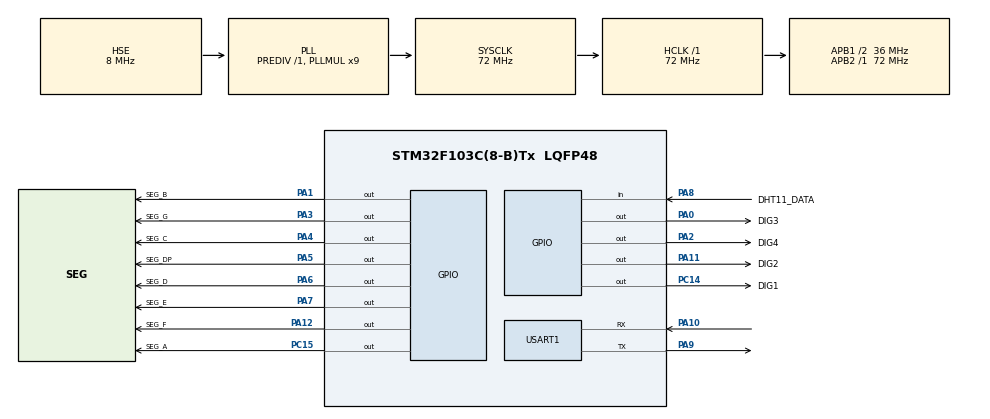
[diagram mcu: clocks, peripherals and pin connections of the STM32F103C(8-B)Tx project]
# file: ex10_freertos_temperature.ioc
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FREERTOS.Tasks01=defaultTask,0,128,StartDefaultTask,Default,NULL,Dynamic,NULL,NULL;DHT11Read,3,400,Task_DHT11Read,Default,NULL,Dynamic,NULL,NULL;LED_Display,0,400,Task_Display,Default,NULL,Dynamic,NULL,NULL;UART_Transmitio,-3,400,Task_Uart,Default,NULL,Dynamic,NULL,NULL
FREERTOS.configTOTAL_HEAP_SIZE=6000
Mcu.Family=STM32F1
Mcu.Name=STM32F103C(8-B)Tx
Mcu.Package=LQFP48
NVIC.PriorityGroup=NVIC_PRIORITYGROUP_4
NVIC.TIM4_IRQn=true\:0\:0\:false\:false\:true\:false\:false\:true
NVIC.TimeBase=TIM4_IRQn
NVIC.TimeBaseIP=TIM4
PA0-WKUP.GPIO_Label=DIG3
PA0-WKUP.GPIO_Speed=GPIO_SPEED_FREQ_HIGH
PA0-WKUP.PinState=GPIO_PIN_SET
PA0-WKUP.Signal=GPIO_Output
PA1.GPIO_Label=SEG_B
PA1.GPIO_Speed=GPIO_SPEED_FREQ_HIGH
PA1.PinState=GPIO_PIN_SET
PA1.Signal=GPIO_Output
PA10.Mode=Asynchronous
PA10.Signal=USART1_RX
PA11.GPIO_Label=DIG2
PA11.GPIO_Speed=GPIO_SPEED_FREQ_HIGH
PA11.PinState=GPIO_PIN_SET
PA11.Signal=GPIO_Output
PA12.GPIO_Label=SEG_F
PA12.GPIO_Speed=GPIO_SPEED_FREQ_HIGH
PA12.PinState=GPIO_PIN_SET
PA12.Signal=GPIO_Output
PA13.Mode=Serial_Wire
PA13.Signal=SYS_JTMS-SWDIO
PA14.Mode=Serial_Wire
PA14.Signal=SYS_JTCK-SWCLK
PA2.GPIO_Label=DIG4
PA2.GPIO_Speed=GPIO_SPEED_FREQ_HIGH
PA2.PinState=GPIO_PIN_SET
PA2.Signal=GPIO_Output
PA3.GPIO_Label=SEG_G
PA3.GPIO_Speed=GPIO_SPEED_FREQ_HIGH
PA3.PinState=GPIO_PIN_SET
PA3.Signal=GPIO_Output
PA4.GPIO_Label=SEG_C
PA4.GPIO_Speed=GPIO_SPEED_FREQ_HIGH
PA4.PinState=GPIO_PIN_SET
PA4.Signal=GPIO_Output
PA5.GPIO_Label=SEG_DP
PA5.GPIO_Speed=GPIO_SPEED_FREQ_HIGH
PA5.PinState=GPIO_PIN_SET
PA5.Signal=GPIO_Output
PA6.GPIO_Label=SEG_D
PA6.GPIO_Speed=GPIO_SPEED_FREQ_HIGH
PA6.PinState=GPIO_PIN_SET
PA6.Signal=GPIO_Output
PA7.GPIO_Label=SEG_E
PA7.GPIO_Speed=GPIO_SPEED_FREQ_HIGH
PA7.PinState=GPIO_PIN_SET
PA7.Signal=GPIO_Output
PA8.GPIO_Label=DHT11_DATA
PA8.Signal=GPIO_Input
PA9.Mode=Asynchronous
PA9.Signal=USART1_TX
PC14-OSC32_IN.GPIO_Label=DIG1
PC14-OSC32_IN.GPIO_Speed=GPIO_SPEED_FREQ_HIGH
PC14-OSC32_IN.PinState=GPIO_PIN_SET
PC14-OSC32_IN.Signal=GPIO_Output
PC15-OSC32_OUT.GPIO_Label=SEG_A
PC15-OSC32_OUT.GPIO_Speed=GPIO_SPEED_FREQ_HIGH
PC15-OSC32_OUT.PinState=GPIO_PIN_SET
PC15-OSC32_OUT.Signal=GPIO_Output
PD0-OSC_IN.Mode=HSE-External-Oscillator
PD0-OSC_IN.Signal=RCC_OSC_IN
PD1-OSC_OUT.Mode=HSE-External-Oscillator
PD1-OSC_OUT.Signal=RCC_OSC_OUT
ProjectManager.HeapSize=0x200
ProjectManager.StackSize=0x400
ProjectManager.TargetToolchain=STM32CubeIDE
RCC.AHBFreq_Value=72000000
RCC.APB1CLKDivider=RCC_HCLK_DIV2
RCC.APB1Freq_Value=36000000
RCC.APB1TimFreq_Value=72000000
RCC.APB2Freq_Value=72000000
RCC.APB2TimFreq_Value=72000000
RCC.HCLKFreq_Value=72000000
RCC.PLLMUL=RCC_PLL_MUL9
RCC.PLLSourceVirtual=RCC_PLLSOURCE_HSE
RCC.SYSCLKFreq_VALUE=72000000
RCC.SYSCLKSource=RCC_SYSCLKSOURCE_PLLCLK
RCC.USBFreq_Value=72000000
TIM3.Period=50000-1
TIM3.Prescaler=72-1
USART1.VirtualMode=VM_ASYNC
VP_FREERTOS_VS_CMSIS_V1.Mode=CMSIS_V1
VP_SYS_VS_tim4.Mode=TIM4
VP_TIM3_VS_ClockSourceINT.Mode=Internal
board=custom

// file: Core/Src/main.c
/* USER CODE BEGIN Header */
/**
  ******************************************************************************
  * @file           : main.c
  * @brief          : Main program body
  ******************************************************************************
  * @attention
  *
  * <h2><center>&copy; Copyright (c) 2020 STMicroelectronics.
  * All rights reserved.</center></h2>
  *
  * This software component is licensed by ST under BSD 3-Clause license,
  * the "License"; You may not use this file except in compliance with the
  * License. You may obtain a copy of the License at:
  *                        opensource.org/licenses/BSD-3-Clause
  *
  ******************************************************************************
  *
  * @attention
  *
  * 在ucos ii的基础上直接移植过来的,代码逻辑可参照ex9项目
  *
  */
/* USER CODE END Header */

#include "main.h"
#include "cmsis_os.h"

/* USER CODE BEGIN Includes */
#include "dht11.h"
#include "digit.h"
/* USER CODE END Includes */

TIM_HandleTypeDef htim3;

UART_HandleTypeDef huart1;

osThreadId defaultTaskHandle;
osThreadId DHT11ReadHandle;
osThreadId LED_DisplayHandle;
osThreadId UART_TransmitioHandle;
/* USER CODE BEGIN PV */
uint8_t UartSendBuf[] = "Temperature:   ; Humidity:   \n";
/* 任务间共享的全局变量 */
uint8_t humidity, temperature;      /* 温湿度整数部分 */
uint8_t frac_hum, frac_temp;        /* 温湿度小数部分 */
/* USER CODE END PV */

void SystemClock_Config(void);
static void MX_GPIO_Init(void);
static void MX_TIM3_Init(void);
static void MX_USART1_UART_Init(void);
void StartDefaultTask(void const * argument);
void Task_DHT11Read(void const * argument);
void Task_Display(void const * argument);
void Task_Uart(void const * argument);

int main(void)
{

  /* MCU Configuration--------------------------------------------------------*/

  /* Reset of all peripherals, Initializes the Flash interface and the Systick. */
  HAL_Init();

  /* Configure the system clock */
  SystemClock_Config();

  /* Initialize all configured peripherals */
  MX_GPIO_Init();
  MX_TIM3_Init();
  MX_USART1_UART_Init();
  /* USER CODE BEGIN 2 */
  HAL_TIM_Base_Start(&htim3);
  HAL_Delay(2000);
  /* USER CODE END 2 */

  /* Create the thread(s) */
  /* definition and creation of defaultTask */
  osThreadDef(defaultTask, StartDefaultTask, osPriorityNormal, 0, 128);
  defaultTaskHandle = osThreadCreate(osThread(defaultTask), NULL);

  /* definition and creation of DHT11Read */
  osThreadDef(DHT11Read, Task_DHT11Read, osPriorityRealtime, 0, 400);
  DHT11ReadHandle = osThreadCreate(osThread(DHT11Read), NULL);

  /* definition and creation of LED_Display */
  osThreadDef(LED_Display, Task_Display, osPriorityNormal, 0, 400);
  LED_DisplayHandle = osThreadCreate(osThread(LED_Display), NULL);

  /* definition and creation of UART_Transmitio */
  osThreadDef(UART_Transmitio, Task_Uart, osPriorityIdle, 0, 400);
  UART_TransmitioHandle = osThreadCreate(osThread(UART_Transmitio), NULL);

  /* Start scheduler */
  osKernelStart();

  /* We should never get here as control is now taken by the scheduler */
  /* Infinite loop */
  while (1)
  {

  }
}

void SystemClock_Config(void)
{
  RCC_OscInitTypeDef RCC_OscInitStruct = {0};
  RCC_ClkInitTypeDef RCC_ClkInitStruct = {0};

  /** Initializes the CPU, AHB and APB busses clocks
  */
  RCC_OscInitStruct.OscillatorType = RCC_OSCILLATORTYPE_HSE;
  RCC_OscInitStruct.HSEState = RCC_HSE_ON;
  RCC_OscInitStruct.HSEPredivValue = RCC_HSE_PREDIV_DIV1;
  RCC_OscInitStruct.HSIState = RCC_HSI_ON;
  RCC_OscInitStruct.PLL.PLLState = RCC_PLL_ON;
  RCC_OscInitStruct.PLL.PLLSource = RCC_PLLSOURCE_HSE;
  RCC_OscInitStruct.PLL.PLLMUL = RCC_PLL_MUL9;
  if (HAL_RCC_OscConfig(&RCC_OscInitStruct) != HAL_OK)
  {
    Error_Handler();
  }
  /** Initializes the CPU, AHB and APB busses clocks
  */
  RCC_ClkInitStruct.ClockType = RCC_CLOCKTYPE_HCLK|RCC_CLOCKTYPE_SYSCLK
                              |RCC_CLOCKTYPE_PCLK1|RCC_CLOCKTYPE_PCLK2;
  RCC_ClkInitStruct.SYSCLKSource = RCC_SYSCLKSOURCE_PLLCLK;
  RCC_ClkInitStruct.AHBCLKDivider = RCC_SYSCLK_DIV1;
  RCC_ClkInitStruct.APB1CLKDivider = RCC_HCLK_DIV2;
  RCC_ClkInitStruct.APB2CLKDivider = RCC_HCLK_DIV1;

  if (HAL_RCC_ClockConfig(&RCC_ClkInitStruct, FLASH_LATENCY_2) != HAL_OK)
  {
    Error_Handler();
  }
}

static void MX_TIM3_Init(void)
{

  TIM_ClockConfigTypeDef sClockSourceConfig = {0};
  TIM_MasterConfigTypeDef sMasterConfig = {0};

  htim3.Instance = TIM3;
  htim3.Init.Prescaler = 72-1;
  htim3.Init.CounterMode = TIM_COUNTERMODE_UP;
  htim3.Init.Period = 50000-1;
  htim3.Init.ClockDivision = TIM_CLOCKDIVISION_DIV1;
  htim3.Init.AutoReloadPreload = TIM_AUTORELOAD_PRELOAD_DISABLE;
  if (HAL_TIM_Base_Init(&htim3) != HAL_OK)
  {
    Error_Handler();
  }
  sClockSourceConfig.ClockSource = TIM_CLOCKSOURCE_INTERNAL;
  if (HAL_TIM_ConfigClockSource(&htim3, &sClockSourceConfig) != HAL_OK)
  {
    Error_Handler();
  }
  sMasterConfig.MasterOutputTrigger = TIM_TRGO_RESET;
  sMasterConfig.MasterSlaveMode = TIM_MASTERSLAVEMODE_DISABLE;
  if (HAL_TIMEx_MasterConfigSynchronization(&htim3, &sMasterConfig) != HAL_OK)
  {
    Error_Handler();
  }

}

static void MX_USART1_UART_Init(void)
{

  huart1.Instance = USART1;
  huart1.Init.BaudRate = 115200;
  huart1.Init.WordLength = UART_WORDLENGTH_8B;
  huart1.Init.StopBits = UART_STOPBITS_1;
  huart1.Init.Parity = UART_PARITY_NONE;
  huart1.Init.Mode = UART_MODE_TX_RX;
  huart1.Init.HwFlowCtl = UART_HWCONTROL_NONE;
  huart1.Init.OverSampling = UART_OVERSAMPLING_16;
  if (HAL_UART_Init(&huart1) != HAL_OK)
  {
    Error_Handler();
  }

}

static void MX_GPIO_Init(void)
{
  GPIO_InitTypeDef GPIO_InitStruct = {0};

  /* GPIO Ports Clock Enable */
  __HAL_RCC_GPIOC_CLK_ENABLE();
  __HAL_RCC_GPIOD_CLK_ENABLE();
  __HAL_RCC_GPIOA_CLK_ENABLE();

  /*Configure GPIO pin Output Level */
  HAL_GPIO_WritePin(GPIOC, DIG1_Pin|SEG_A_Pin, GPIO_PIN_SET);

  /*Configure GPIO pin Output Level */
  HAL_GPIO_WritePin(GPIOA, DIG3_Pin|SEG_B_Pin|DIG4_Pin|SEG_G_Pin
                          |SEG_C_Pin|SEG_DP_Pin|SEG_D_Pin|SEG_E_Pin
                          |DIG2_Pin|SEG_F_Pin, GPIO_PIN_SET);

  /*Configure GPIO pins : DIG1_Pin SEG_A_Pin */
  GPIO_InitStruct.Pin = DIG1_Pin|SEG_A_Pin;
  GPIO_InitStruct.Mode = GPIO_MODE_OUTPUT_PP;
  GPIO_InitStruct.Pull = GPIO_NOPULL;
  GPIO_InitStruct.Speed = GPIO_SPEED_FREQ_HIGH;
  HAL_GPIO_Init(GPIOC, &GPIO_InitStruct);

  /*Configure GPIO pins : DIG3_Pin SEG_B_Pin DIG4_Pin SEG_G_Pin
                           SEG_C_Pin SEG_DP_Pin SEG_D_Pin SEG_E_Pin
                           DIG2_Pin SEG_F_Pin */
  GPIO_InitStruct.Pin = DIG3_Pin|SEG_B_Pin|DIG4_Pin|SEG_G_Pin
                          |SEG_C_Pin|SEG_DP_Pin|SEG_D_Pin|SEG_E_Pin
                          |DIG2_Pin|SEG_F_Pin;
  GPIO_InitStruct.Mode = GPIO_MODE_OUTPUT_PP;
  GPIO_InitStruct.Pull = GPIO_NOPULL;
  GPIO_InitStruct.Speed = GPIO_SPEED_FREQ_HIGH;
  HAL_GPIO_Init(GPIOA, &GPIO_InitStruct);

  /*Configure GPIO pin : DHT11_DATA_Pin */
  GPIO_InitStruct.Pin = DHT11_DATA_Pin;
  GPIO_InitStruct.Mode = GPIO_MODE_INPUT;
  GPIO_InitStruct.Pull = GPIO_NOPULL;
  HAL_GPIO_Init(DHT11_DATA_GPIO_Port, &GPIO_InitStruct);

}

void StartDefaultTask(void const * argument)
{
  for(;;)
  {
    osDelay(1);
  }
}

void Task_DHT11Read(void const * argument)
{
  /* USER CODE BEGIN Task_DHT11Read */
  /* Infinite loop */
  for(;;)
  {
    taskENTER_CRITICAL();
    if (DHT11Start() == OK_RESPONSE)
    {
      DHT11ReceiveAndCheck();
    }
    taskEXIT_CRITICAL();
    osDelay(1500);
  }
  /* USER CODE END Task_DHT11Read */
}

void Task_Display(void const * argument)
{
  /* USER CODE BEGIN Task_Display */
  uint8_t tmp, tmparr[4], i;
  uint16_t cnt = 0;
  /* Infinite loop */
  for(;;)
  {
    if (cnt == 1)
    {
      taskENTER_CRITICAL();
      tmp = temperature;
      taskEXIT_CRITICAL();
      for (i = 2; i >= 1; i--)
      {
        tmparr[i-1] = tmp % 10;
        tmp /= 10;
      }
    }
    else if (cnt == 200)
    {
      taskENTER_CRITICAL();
      tmp = humidity;
      taskEXIT_CRITICAL();
      for (i = 2; i >= 1; i--)
      {
        tmparr[i-1] = tmp % 10;
        tmp /= 10;
      }
    }
    else if (cnt == 400)
      cnt = 0;

    for (i = 1; i <= 2; i++)
    {
      DisplayOneDigit(i + 2, tmparr[i-1]);
      osDelay(10);
    }

    cnt ++;
  }
  /* USER CODE END Task_Display */
}

void Task_Uart(void const * argument)
{
  /* USER CODE BEGIN Task_Uart */
  /* Infinite loop */
  for(;;)
  {
    taskENTER_CRITICAL();

    UartSendBuf[13] = temperature / 10 + '0';
    UartSendBuf[14] = temperature % 10 + '0';
    UartSendBuf[27] = humidity / 10 + '0';
    UartSendBuf[28] = humidity % 10 + '0';

    HAL_UART_Transmit(&huart1, (uint8_t *)UartSendBuf, sizeof(UartSendBuf), 10);

    taskEXIT_CRITICAL();
    osDelay(1000);
  }
  /* USER CODE END Task_Uart */
}

 /**
  * @brief  Period elapsed callback in non blocking mode
  * @note   This function is called  when TIM4 interrupt took place, inside
  * HAL_TIM_IRQHandler(). It makes a direct call to HAL_IncTick() to increment
  * a global variable "uwTick" used as application time base.
  * @param  htim : TIM handle
  * @retval None
  */
void HAL_TIM_PeriodElapsedCallback(TIM_HandleTypeDef *htim)
{
  if (htim->Instance == TIM4) {
    HAL_IncTick();
  }
}

void Error_Handler(void)
{
}

/************************ (C) COPYRIGHT STMicroelectronics *****END OF FILE****/
